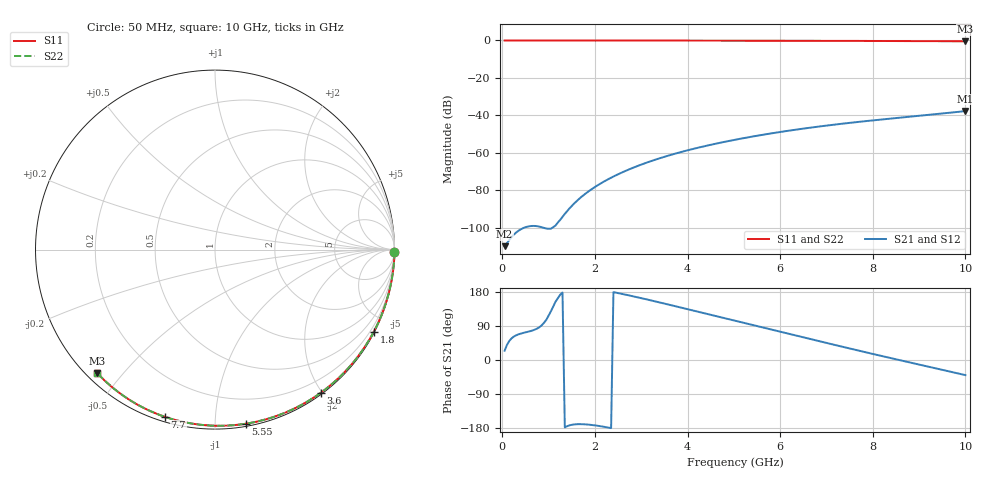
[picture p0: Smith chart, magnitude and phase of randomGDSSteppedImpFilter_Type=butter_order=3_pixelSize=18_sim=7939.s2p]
! freq	dB(S11)	phase(S11)	dB(S12)	phase(S12)
!  dB(S21)	phase(S21)	dB(S22)	phase(S22)
!S-par simulation data
#  GHz  S  DB  R 50
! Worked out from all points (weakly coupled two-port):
!   200 points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, 50 MHz to 10 GHz, reference 50 ohm
!   highest |S21| = -37.65 dB at 10 GHz (marker M1); lowest = -109.7 dB at 50 MHz (marker M2)
!   lowest |S11| = -0.4 dB at 10 GHz (marker M3), VSWR 39.46, Z = 1.5 - j21.4 ohm
!   |S11| at or under -10 dB: nowhere
!   |S22| runs from -0.4 to 0.0 dB; largest |S21 - S12| = 0
!   S11 on the Smith chart (normalised r, x): 50 MHz: open; 1.8 GHz: 0.04, -4.11; 3.6 GHz: 0.02, -1.98; 5.55 GHz: 0.02, -1.19; 7.7 GHz: 0.02, -0.74; 10 GHz: 0.03, -0.43
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0.05  -0.00 -0.8  -109.70 24.4  -109.70 24.4  -0.00 -0.8
0.45  -0.01 -6.9  -100.08 71.4  -100.08 71.4  -0.01 -6.9
0.9  -0.02 -13.8  -99.97 98.2  -99.97 98.2  -0.02 -13.8
1.75  -0.03 -26.6  -82.59 -169.5  -82.59 -169.5  -0.03 -26.6
1.8  -0.03 -27.4  -81.62 -169.9  -81.62 -169.9  -0.03 -27.4
1.9  -0.04 -28.9  -79.81 -171.0  -79.81 -171.0  -0.04 -28.9
2.05  -0.04 -31.1  -77.36 -173.4  -77.36 -173.4  -0.04 -31.1
2.25  -0.04 -34.0  -74.48 -177.4  -74.48 -177.4  -0.04 -34.0
2.45  -0.05 -37.0  -71.94 177.9  -71.94 177.9  -0.05 -37.0
2.65  -0.05 -39.9  -69.67 172.8  -69.67 172.8  -0.05 -39.9
3  -0.06 -45.0  -66.20 163.3  -66.20 163.3  -0.06 -45.0
3.4  -0.07 -50.7  -62.81 151.8  -62.81 151.8  -0.07 -50.7
3.6  -0.07 -53.5  -61.30 146.0  -61.30 146.0  -0.07 -53.5
4.3  -0.09 -63.2  -56.77 125.2  -56.77 125.2  -0.09 -63.2
5.05  -0.11 -73.3  -52.84 102.9  -52.84 102.9  -0.11 -73.3
5.55  -0.13 -79.9  -50.61 88.0  -50.61 88.0  -0.13 -79.9
6.1  -0.15 -86.9  -48.43 71.7  -48.43 71.7  -0.15 -86.9
6.7  -0.18 -94.5  -46.34 53.9  -46.34 53.9  -0.18 -94.5
7.7  -0.24 -106.6  -43.40 24.6  -43.40 24.6  -0.24 -106.6
8.35  -0.29 -114.3  -41.75 6.1  -41.75 6.1  -0.29 -114.3
9.15  -0.36 -123.7  -39.83 -16.1  -39.83 -16.1  -0.36 -123.7
10  -0.44 -133.6  -37.65 -39.9  -37.65 -39.9  -0.44 -133.6
